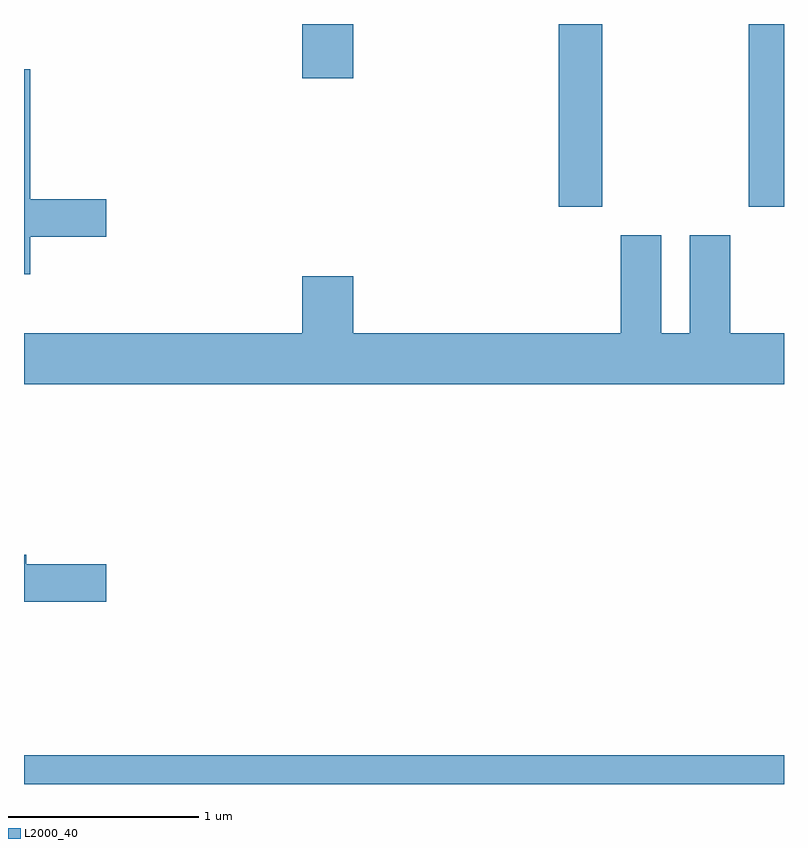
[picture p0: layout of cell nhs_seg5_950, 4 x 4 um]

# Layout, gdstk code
import gdstk
lib = gdstk.Library(unit=1e-6, precision=1e-09)
def R(c, l, rs):  # rectangles x0, y0, x1, y1
    for r in rs: c.add(gdstk.rectangle(r[:2], r[2:], *l))
def P(c, l, *ps):  # polygons
    for p in ps: c.add(gdstk.Polygon(p, *l))
L2000_40 = (2000, 40)

nhs_seg5_950 = lib.new_cell('nhs_seg5_950')
R(nhs_seg5_950, L2000_40, [(213.611,1408.072,217.611,1408.224), (216.426,1411.111,216.654,1412.072), (217.426,1411.111,217.611,1412.072), (215.076,1411.786,215.344,1412.072)])
P(nhs_seg5_950, L2000_40, [(213.644,1410.951),(214.044,1410.951),(214.044,1411.149),(213.644,1411.149),(213.644,1411.834),(213.611,1411.834),(213.611,1410.756),(213.644,1410.756)],
  [(217.611,1410.444),(217.329,1410.444),(217.329,1410.959),(217.116,1410.959),(217.116,1410.444),(216.964,1410.444),(216.964,1410.959),(216.751,1410.959),(216.751,1410.444),(215.344,1410.444),(215.344,1410.744),(215.076,1410.744),(215.076,1410.444),(213.611,1410.444),(213.611,1410.176),(217.611,1410.176)],
  [(214.044,1409.229),(213.624,1409.229),(213.624,1409.279),(213.611,1409.279),(213.611,1409.031),(214.044,1409.031)])

lib.write_gds('nhs_seg5_950.gds')
